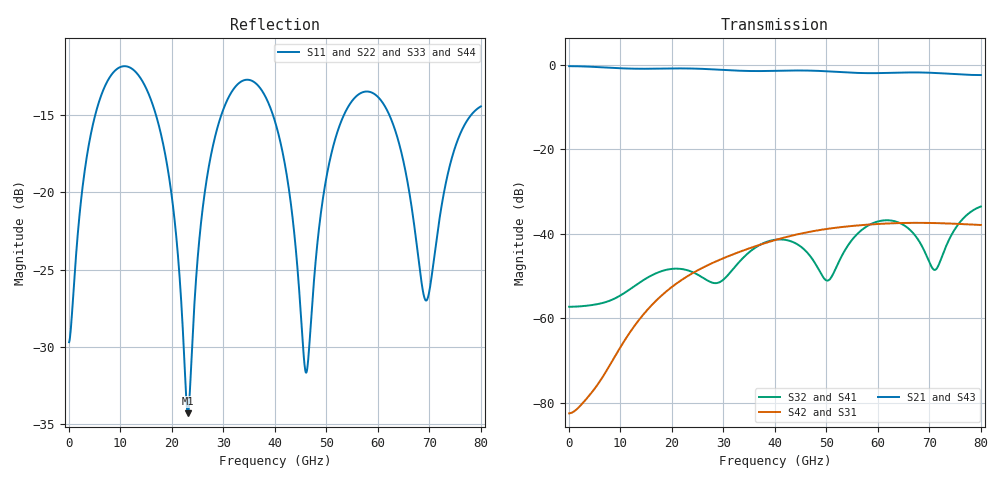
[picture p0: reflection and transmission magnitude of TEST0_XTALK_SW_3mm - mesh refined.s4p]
! TOUCHSTONE file generated by CST MICROWAVE STUDIO
! Date and time: Wed Oct 28 13:18:16 2026
! Project name: TEST0_XTALK_SW_3mm - mesh refined.cst
! Parameters = {L=3; L1=0.01; L2=0.076; PITCH=0.2; START_POSITION=0.1; W1=0.002; W2=0.022; gap=0.00415; interaxis=0.625; ln_thickness=0.000275; mtx=0.002; si_thickness=0.3; sio2_thickness=0.0047; w=1; wg=0.03; ws=0.01}
! Header version: 2024
! Port assignment regex: !\s*Touchstone port\s*([0-9]+)\s*=\s*(CST MWS port|CST DES external port|CST DES block port)\s*(.+)\s* \(\"(.*)\"\)(\s*mode\s*([0-9]+))?.*
! Touchstone port assignment:
! Touchstone port 1 = CST MWS port 1 ("")
! Touchstone port 2 = CST MWS port 2 ("")
! Touchstone port 3 = CST MWS port 3 ("")
! Touchstone port 4 = CST MWS port 4 ("")
# GHz S MA R 50
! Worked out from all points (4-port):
!   1000 points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, 80 MHz to 80 GHz, reference 50 ohm
!   strongest paths, dB at 80 MHz, 20.08 GHz, 40.08 GHz, 60.08 GHz, 80 GHz:
!     S21: -0.3, -0.8, -1.4, -1.9, -2.4
!     S43: -0.3, -0.8, -1.4, -1.9, -2.4
!     S42: -82.5, -52.5, -41.5, -37.6, -37.9
!     S31: -82.5, -52.5, -41.5, -37.6, -37.9
!     S32: -57.2, -48.3, -41.4, -37.0, -33.5
!     S41: -57.2, -48.3, -41.4, -37.0, -33.5
!   lowest |S11| = -34.3 dB at 23.12 GHz (marker M1), VSWR 1.04, Z = 51.9 - j0.252 ohm
!   |S11| at or under -10 dB: start of sweep to end of sweep
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0.08  0.03269 4.6  0.967 -0.7  7.542e-05 176.6  0.001373 -2.4
      0.967 -0.7  0.03269 4.6  0.001373 -2.4  7.527e-05 176.6
      7.54e-05 176.6  0.001373 -2.4  0.03269 4.6  0.967 -0.7
      0.001373 -2.4  7.525e-05 176.6  0.967 -0.7  0.03269 4.6
12  0.2536 -12.4  0.9047 -93.6  0.0007 168.2  0.002239 3.3
    0.9047 -93.6  0.2536 -12.3  0.002239 3.3  0.0006999 168.2
    0.0007 168.2  0.002239 3.3  0.2536 -12.4  0.9047 -93.6
    0.002239 3.3  0.0006999 168.2  0.9047 -93.6  0.2536 -12.3
23.12  0.01923 -7.2  0.9086 -178.2  0.003175 -32.3  0.003701 98.8
       0.9086 -178.2  0.01927 -7.3  0.003701 98.8  0.003176 -32.3
       0.003175 -32.3  0.003701 98.8  0.01923 -7.3  0.9086 -178.2
       0.003701 98.8  0.003176 -32.3  0.9086 -178.2  0.01927 -7.3
34  0.2311 0.0  0.8508 98.7  0.006402 137.4  0.005317 138.9
    0.8508 98.7  0.2311 0.0  0.005317 138.9  0.006403 137.4
    0.006402 137.4  0.005317 138.9  0.2311 0.0  0.8508 98.7
    0.005317 138.9  0.006403 137.4  0.8508 98.7  0.2311 0.0
46.24  0.02647 2.7  0.8582 6.2  0.01044 -78.5  0.006073 -116.5
       0.8582 6.2  0.02656 2.6  0.006073 -116.5  0.01044 -78.5
       0.01044 -78.5  0.006073 -116.5  0.02646 2.7  0.8582 6.2
       0.006073 -116.5  0.01044 -78.5  0.8582 6.2  0.02656 2.6
60.56  0.1993 -20.2  0.8013 -101.3  0.01317 27.5  0.0143 -163.1
       0.8013 -101.3  0.1993 -20.3  0.0143 -163.1  0.01316 27.5
       0.01317 27.5  0.0143 -163.1  0.1994 -20.2  0.8013 -101.3
       0.0143 -163.1  0.01316 27.5  0.8013 -101.3  0.1993 -20.3
80  0.1902 5.3  0.759 110.6  0.01276 44.3  0.02112 33.6
    0.759 110.6  0.1901 5.3  0.02112 33.6  0.01276 44.3
    0.01276 44.3  0.02112 33.6  0.1902 5.3  0.759 110.6
    0.02112 33.6  0.01276 44.3  0.759 110.6  0.1902 5.3
